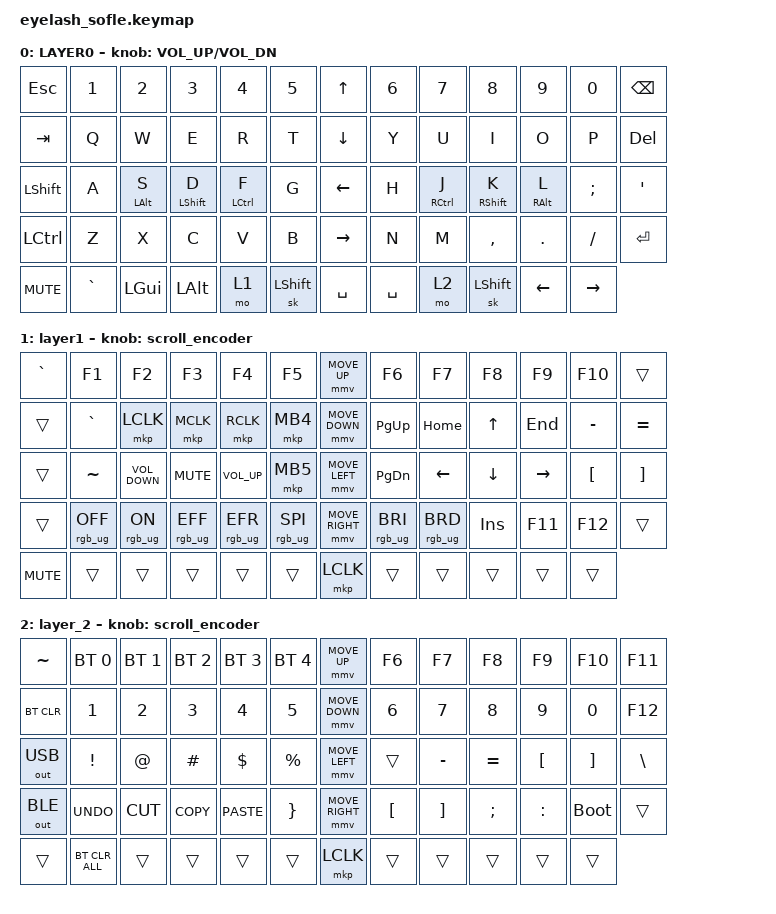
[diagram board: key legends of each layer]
#define ZMK_POINTING_DEFAULT_MOVE_VAL 1200  // 600
#define ZMK_POINTING_DEFAULT_SCRL_VAL 25   // 10

#include <input/processors.dtsi>
#include <zephyr/dt-bindings/input/input-event-codes.h>
#include <behaviors.dtsi>
#include <dt-bindings/zmk/bt.h>
#include <dt-bindings/zmk/keys.h>
#include <dt-bindings/zmk/outputs.h>
#include <dt-bindings/zmk/pointing.h>
#include <dt-bindings/zmk/rgb.h>

&mmv_input_listener { input-processors = <&zip_xy_scaler 2 1>; };

&msc_input_listener { input-processors = <&zip_scroll_scaler 2 1>; };

&msc {
    acceleration-exponent = <1>;      // 0
    time-to-max-speed-ms = <400>;       // 300
    delay-ms = <0>;                   // 0
};

&mmv {
    time-to-max-speed-ms = <900>;
    acceleration-exponent = <1>;
    trigger-period-ms = <16>;
};

/ {
    behaviors {
        msc {
            acceleration-exponent = <1>;      // 0
            time-to-max-speed-ms = <400>;      // 500
            delay-ms = <0>;                   //   10
        };

        mmv {
            acceleration-exponent = <1>;      // 1
            time-to-max-speed-ms = <900>;    // 40
            delay-ms = <0>;                   // 0
        };
    };

    scroll_encoder: scroll_encoder {
        compatible = "zmk,behavior-sensor-rotate";
        #sensor-binding-cells = <0>;
        bindings = <&msc SCRL_DOWN>, <&msc SCRL_UP>;

        tap-ms = <30>;
    };

    hrl: hrl {
        compatible = "zmk,behavior-hold-tap";
        label = "HRL";
        bindings = <&kp>, <&kp>;

        #binding-cells = <2>;
        tapping-term-ms = <280>;
        quick-tap-ms = <150>;
        hold-trigger-key-positions = <57 56 55 7 8 9 10 11 12 20 21 22 23 24 25 33 34 35 36 37 38 46 47 48 49 50 51 59 60 61 62 63>;
        flavor = "balanced";
    };

    hrr: hrr {
        compatible = "zmk,behavior-hold-tap";
        label = "HRR";
        bindings = <&kp>, <&kp>;

        #binding-cells = <2>;
        tapping-term-ms = <280>;
        quick-tap-ms = <150>;
        flavor = "balanced";
        hold-trigger-key-positions = <61 60 59 0 1 2 3 4 5 13 14 15 16 17 18 26 27 28 29 30 31 39 40 41 42 43 44 53 54 55 56 52 57>;
    };

    combos {
        compatible = "zmk,combos";

        Sleep {
            bindings = <&kp K_SLEEP>;
            key-positions = <0 12>;
        };

        escapedf {
            bindings = <&kp ESCAPE>;
            key-positions = <30 29>;
        };
    };

    keymap {
        compatible = "zmk,keymap";

        layer0 {
            bindings = <
&kp ESC     &kp N1     &kp N2           &kp N3             &kp N4        &kp N5        &kp UP_ARROW     &kp N6     &kp N7        &kp N8              &kp N9            &kp N0     &kp BACKSPACE
&kp TAB     &kp Q      &kp W            &kp E              &kp R         &kp T         &kp DOWN_ARROW   &kp Y      &kp U         &kp I               &kp O             &kp P      &kp DELETE
&kp LSHFT   &kp A      &hrl LEFT_ALT S  &hrl LEFT_SHIFT D  &hrl LCTRL F  &kp G         &kp LEFT_ARROW   &kp H      &hrr RCTRL J  &hrr RIGHT_SHIFT K  &hrr RIGHT_ALT L  &kp SEMI   &kp APOS
&kp LCTRL   &kp Z      &kp X            &kp C              &kp V         &kp B         &kp RIGHT_ARROW  &kp N      &kp M         &kp COMMA           &kp DOT           &kp FSLH   &kp ENTER
&kp C_MUTE  &kp GRAVE  &kp LEFT_GUI     &kp LEFT_ALT       &mo 1         &sk LSHIFT    &kp SPACE        &kp SPACE  &mo 2         &sk LSHIFT          &kp LEFT_ARROW    &kp RIGHT
            >;

            sensor-bindings = <&inc_dec_kp C_VOLUME_UP C_VOL_DN>;
            display-name = "LAYER0";
        };

        layer_1 {
            bindings = <
&kp GRAVE   &kp F1           &kp F2             &kp F3           &kp F4           &kp F5             &mmv MOVE_UP     &kp F6           &kp F7           &kp F8      &kp F9     &kp F10           &trans
&trans      &kp GRAVE        &mkp LCLK          &mkp MCLK        &mkp RCLK        &mkp MB4           &mmv MOVE_DOWN   &kp PG_UP        &kp HOME         &kp UP      &kp END    &kp MINUS         &kp EQUAL
&trans      &kp TILDE        &kp C_VOLUME_DOWN  &kp C_MUTE       &kp C_VOLUME_UP  &mkp MB5           &mmv MOVE_LEFT   &kp PG_DN        &kp LEFT         &kp DOWN    &kp RIGHT  &kp LEFT_BRACKET  &kp RIGHT_BRACKET
&trans      &rgb_ug RGB_OFF  &rgb_ug RGB_ON     &rgb_ug RGB_EFF  &rgb_ug RGB_EFR  &rgb_ug RGB_SPI    &mmv MOVE_RIGHT  &rgb_ug RGB_BRI  &rgb_ug RGB_BRD  &kp INSERT  &kp F11    &kp F12           &trans
&kp C_MUTE  &trans           &trans             &trans           &trans           &trans             &mkp LCLK        &trans           &trans           &trans      &trans     &trans
            >;

            display-name = "layer1";
            sensor-bindings = <&scroll_encoder>;
        };

        layer_2 {
            bindings = <
&kp TILDE     &bt BT_SEL 0     &bt BT_SEL 1  &bt BT_SEL 2  &bt BT_SEL 3  &bt BT_SEL 4       &mmv MOVE_UP     &kp F6            &kp F7             &kp F8         &kp F9            &kp F10            &kp F11
&bt BT_CLR    &kp NUMBER_1     &kp NUMBER_2  &kp NUMBER_3  &kp NUMBER_4  &kp NUMBER_5       &mmv MOVE_DOWN   &kp NUMBER_6      &kp NUMBER_7       &kp NUMBER_8   &kp NUMBER_9      &kp NUMBER_0       &kp F12
&out OUT_USB  &kp EXCLAMATION  &kp AT_SIGN   &kp HASH      &kp DOLLAR    &kp PERCENT        &mmv MOVE_LEFT   &trans            &kp MINUS          &kp EQUAL      &kp LEFT_BRACKET  &kp RIGHT_BRACKET  &kp BACKSLASH
&out OUT_BLE  &kp K_UNDO       &kp K_CUT     &kp K_COPY    &kp K_PASTE   &kp RIGHT_BRACE    &mmv MOVE_RIGHT  &kp LEFT_BRACKET  &kp RIGHT_BRACKET  &kp SEMICOLON  &kp COLON         &bootloader        &trans
&trans        &bt BT_CLR_ALL   &trans        &trans        &trans        &trans             &mkp LCLK        &trans            &trans             &trans         &trans            &trans
            >;

            sensor-bindings = <&scroll_encoder>;
        };
    };
};
